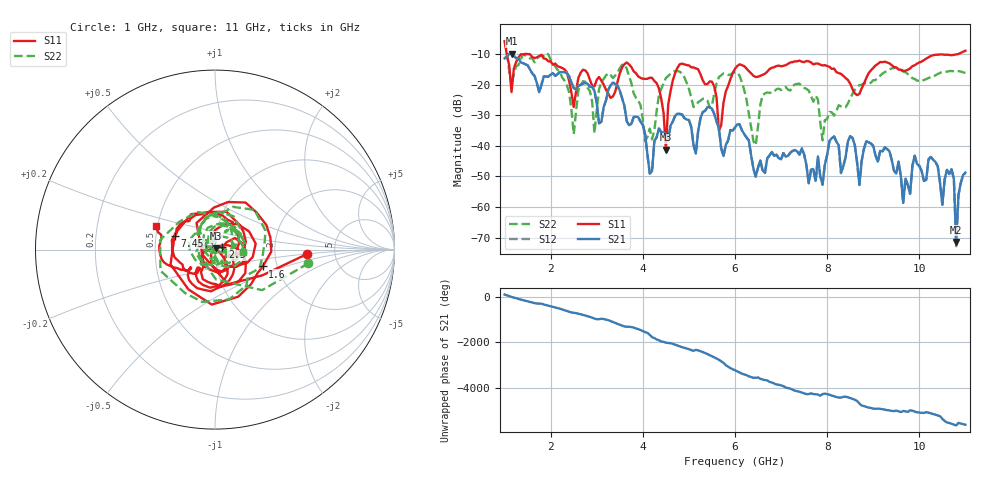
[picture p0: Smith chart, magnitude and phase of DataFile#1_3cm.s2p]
! MS46122B
! 1728301/71650013
! 6/21/2022 4:13:53 PM
! C:\USERS\MILLIWAVE\DESKTOP\XYSTAGE_PYTHON\DATA\IMAI\DATAFILE#1_3CM.S2P
! CHANNEL.1
! TR.MEASUREMENT
! CORRECTED.DATA
# GHZ S RI R 50.0
! FREQ.GHZ  S11RE  S11IM  S21RE  S21IM  S12RE  S12IM  S22RE  S22IM
!; PortSelection: Port_12
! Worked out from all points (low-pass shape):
!   201 points, 1 GHz to 11 GHz, reference 50 ohm
!   highest |S21| = -9.93 dB at 1.15 GHz (marker M1); lowest = -71.4 dB at 10.8 GHz (marker M2)
!   |S21| within 3 dB of the highest: start of sweep to 1.386 GHz
!   lowest |S11| = -41.2 dB at 4.5 GHz (marker M3), VSWR 1.02, Z = 50.3 + j0.804 ohm
!   |S11| at or under -10 dB: 1.045 GHz to 1.442 GHz (396.7 MHz wide, 31.9 % of centre); 1.485 GHz to 10.85 GHz (9.365 GHz wide, 152 % of centre)
!   |S22| runs from -39.8 to -5.6 dB; largest |S21 - S12| = 0.00081
!   S11 on the Smith chart (normalised r, x): 1 GHz: 3.07, -0.21; 1.6 GHz: 1.68, -0.34; 2.5 GHz: 1.08, +0.03; 7.45 GHz: 0.63, +0.10; 11 GHz: 0.49, +0.15
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1  0.5105 -0.0258  -0.00144 0.2684  -0.000941 0.2687  0.5202 -0.0769
1.15  -0.0702 -0.0282  0.3107 -0.0711  0.3107 -0.0709  -0.0886 -0.0355
1.6  0.2659 -0.0939  -0.018 0.1511  -0.0183 0.1514  0.2486 -0.1044
2.5  0.0408 0.014  0.0871 0.0114  0.087 0.0115  -0.00393 -0.0151
2.7  0.1738 -0.0173  0.0141 -0.1032  0.014 -0.1032  0.111 0.0245
2.95  0.0643 -0.0681  -0.0329 0.072  -0.0331 0.0721  -0.014 -0.00794
3.6  0.1898 0.1014  -0.0281 0.0349  -0.0282 0.0349  0.1039 0.1857
4.15  0.0595 -0.115  -0.00161 0.00315  -0.00164 0.00312  0.0185 0.00467
4.35  -0.0199 -0.0837  -0.00909 -0.017  -0.00892 -0.0169  -0.0641 0.0202
4.5  0.00342 0.00798  -0.0113 0.0107  -0.0113 0.0106  -0.0403 0.1213
4.8  0.1684 -0.1322  0.03 -0.0147  0.0297 -0.0145  0.1586 0.0377
5.65  -0.0165 0.00673  -0.00504 0.0192  -0.00511 0.0191  0.00345 0.1323
6  0.0486 -0.1749  0.0199 0.00184  0.0199 0.00184  0.1601 -0.0132
6.45  -0.087 -0.1006  0.00271 0.00165  0.00268 0.0016  0.0102 -0.00114
7.45  -0.2239 0.0775  -0.00162 0.00901  -0.00164 0.00896  -0.0935 0.0146
7.7  -0.1431 0.1588  0.00339 0.00243  0.00334 0.00244  -0.0353 0.039
7.9  -0.0509 0.1995  0.00195 0.00123  0.00202 0.00124  -0.0123 0.00129
9.35  -0.1449 -0.1692  0.0065 0.00501  0.0066 0.00505  -0.0533 0.1699
9.65  -0.1365 -0.0976  0.00113 0.000279  0.00115 0.000226  0.0631 0.1506
10.7  -0.2949 0.0663  -0.00412 0.00061  -0.00408 0.000615  0.1546 0.0628
10.8  -0.2999 0.0826  -2.72e-05 0.000268  -1.81e-05 0.000229  0.1641 0.0393
11  -0.3314 0.1319  -0.00227 0.00287  -0.0022 0.00282  0.1541 -0.015
